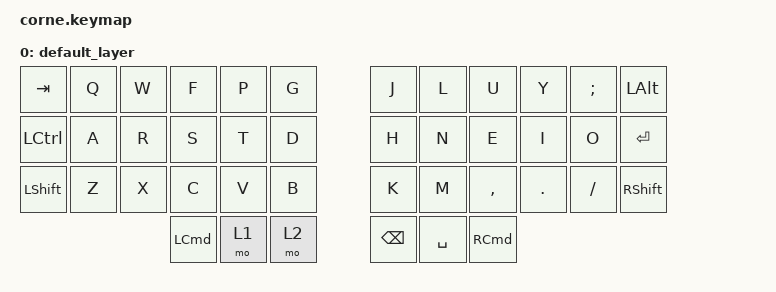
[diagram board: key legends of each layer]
/*
 * Copyright (c) 2020 The ZMK Contributors
 *
 * SPDX-License-Identifier: MIT
 */

#include <behaviors.dtsi>
#include <dt-bindings/zmk/keys.h>
#include <dt-bindings/zmk/bt.h>

/ {
        keymap {
                compatible = "zmk,keymap";

                default_layer {

                        bindings = <
     &kp TAB   &kp Q &kp W &kp F &kp P &kp G   &kp J &kp L  &kp U     &kp Y   &kp SEMI    &kp LEFT_ALT
   &kp LCTRL &kp A &kp R &kp S &kp T &kp D   &kp H &kp N  &kp E     &kp I   &kp O &kp RET
   &kp LSHFT &kp Z &kp X &kp C &kp V &kp B   &kp K &kp M  &kp COMMA &kp DOT &kp FSLH &kp RSHIFT
                  &kp LCMD &mo 1 &mo 2   &kp BSPC &kp SPACE &kp RCMD
                        >;
                };

                        bindings = <
   &kp TAB    &kp ESC  &trans    &kp UP   &trans      &trans        &trans   &kp N7   &kp N8    &kp N9  &kp MINUS &kp LEFT_ALT
   &kp LCTRL  &trans   &kp LEFT    &kp DOWN   &kp RIGHT  &trans     &trans   &kp N4   &kp N5    &kp N6  &kp SQT    &kp RET
   &kp LSHFT  &kp BSPC &kp SPACE   &kp RET    &trans      &trans    &trans   &kp N1   &kp N2    &kp N3  &trans    &kp RSHIFT
                        &kp LCMD   &trans   &kp SPACE               &kp DEL  &kp SPACE &kp N0
                        >;
                };


                        >;
                };
        };
};
//comment
